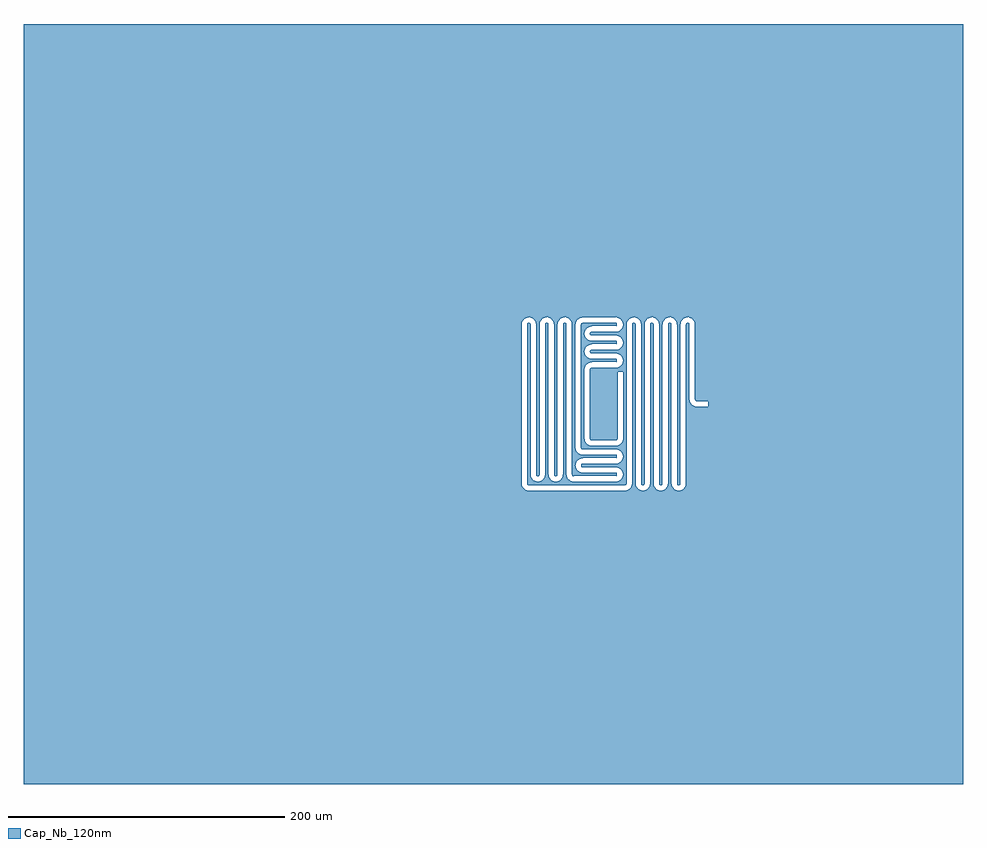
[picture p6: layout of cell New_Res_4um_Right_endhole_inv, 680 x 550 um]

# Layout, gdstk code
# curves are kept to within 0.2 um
import gdstk
lib = gdstk.Library(unit=1e-6, precision=1e-09)
def P(c, l, *ps):  # polygons
    for p in ps: c.add(gdstk.Polygon(p, *l))
Cap_Nb_120nm = (6, 0)

new_res_4um_right_endhol = lib.new_cell('New_Res_4um_Right_endhole_inv')
P(new_res_4um_right_endhol, Cap_Nb_120nm, [(-340,-275),(-340,275),(89.32,275),(89.32,62.602),(64.315,62.655),(62.88,62.37),(61.38,61.57),(60.22,60.34),(59.5,58.8),(59.29,-31.53),(59.56,-33.21),(60.36,-34.71),(61.59,-35.88),(63.41,-36.66),(88.68,-36.77),(89.32,-37.03),(89.32,-38.99),(88.67,-39.251),(64.49,-39.245),(62.34,-39.76),(60.35,-41.4),(59.66,-42.67),(59.35,-44.08),(59.89,-46.88),(61.59,-48.82),(62.87,-49.48),(64.49,-49.77),(88.68,-49.77),(89.32,-50.03),(89.32,-51.99),(88.67,-52.251),(58.05,-52.245),(57.38,-52.05),(56.87,-51.4),(56.79,57.77),(56.3,59.72),(55.11,61.34),(53.66,62.29),(51.7,62.73),(49.71,62.4),(48,61.35),(46.8,59.72),(46.31,57.77),(46.3,-50.99),(46.03,-51.77),(45.33,-52.21),(44.27,-51.97),(43.8,-50.99),(43.77,58.06),(43.17,59.98),(42.11,61.34),(40.66,62.29),(38.7,62.73),(36.71,62.4),(35.21,61.54),(33.93,59.98),(33.37,58.35),(33.3,-50.99),(33.03,-51.77),(32.33,-52.21),(31.51,-52.12),(30.99,-51.66),(30.77,58.06),(30.17,59.98),(29.11,61.34),(27.39,62.4),(25.41,62.73),(23.44,62.29),(21.79,61.14),(20.69,59.46),(20.3,57.5),(20.3,-57.65),(21.05,-60.22),(22.84,-62.01),(25.26,-62.75),(89.32,-62.75),(89.32,-275)],
  [(89.32,-275),(89.32,-62.75),(95.25,-62.75),(97.25,-62.26),(99.4,-60.44),(100.27,-58.06),(100.33,57.76),(100.88,58.54),(101.69,58.72),(102.44,58.37),(102.8,57.48),(103,-58.92),(103.91,-60.72),(105.18,-61.89),(106.76,-62.58),(108.48,-62.72),(110.16,-62.3),(111.61,-61.36),(112.67,-59.99),(113.27,-58.07),(113.3,57.48),(113.67,58.37),(114.55,58.73),(115.44,58.37),(115.8,57.48),(115.83,-58.07),(116.43,-59.99),(117.49,-61.35),(118.94,-62.3),(120.9,-62.74),(122.89,-62.41),(124.39,-61.55),(125.67,-59.99),(126.23,-58.36),(126.3,57.48),(126.77,58.46),(127.69,58.72),(128.44,58.37),(128.8,57.48),(128.81,-57.78),(129.3,-59.73),(130.49,-61.35),(132.21,-62.41),(134.19,-62.74),(135.89,-62.41),(137.61,-61.36),(138.8,-59.73),(139.29,-57.78),(139.3,57.48),(139.77,58.46),(140.83,58.7),(141.53,58.26),(141.8,57.48),(141.92,2.35),(143.21,-0.18),(145.6,-1.73),(147.1,-2),(155.5,-2),(155.5,-275)],
  [(155.5,-275),(155.5,2),(147.15,2.01),(146.35,2.34),(145.83,3.21),(145.8,57.5),(145.52,59.19),(144.51,60.93),(143.18,62.03),(141.56,62.63),(139.83,62.68),(138.18,62.17),(136.79,61.14),(135.8,59.72),(135.33,58.06),(135.3,-57.49),(134.94,-58.38),(134.05,-58.74),(133.17,-58.38),(132.8,-57.49),(132.67,58.63),(131.87,60.47),(130.66,61.71),(129.12,62.49),(127.41,62.73),(125.71,62.4),(124,61.35),(122.93,59.98),(122.33,58.06),(122.3,-57.49),(121.94,-58.38),(121.05,-58.74),(120.17,-58.38),(119.8,-57.49),(119.77,58.06),(119.17,59.98),(118.11,61.34),(116.66,62.29),(114.99,62.71),(113.26,62.57),(111.68,61.88),(110.41,60.71),(109.5,58.91),(109.3,-57.49),(108.94,-58.38),(108.05,-58.74),(107.17,-58.38),(106.8,-57.49),(106.77,58.06),(106.3,59.72),(105.31,61.14),(103.92,62.17),(102.27,62.68),(100.83,62.68),(99.18,62.17),(97.79,61.14),(96.8,59.72),(96.3,57.5),(96.3,-57.49),(96.03,-58.27),(95.33,-58.71),(89.32,-58.75),(89.32,-56.201),(91.04,-55.63),(92.4,-54.57),(93.35,-53.12),(93.79,-51.16),(93.46,-49.17),(92.6,-47.67),(91.04,-46.39),(89.32,-45.818),(89.32,-43.201),(91.04,-42.63),(92.4,-41.57),(93.35,-40.12),(93.79,-38.16),(93.46,-36.17),(92.6,-34.67),(91.04,-33.39),(89.32,-32.818),(89.32,-30.2),(91,-29.65),(92.54,-28.41),(93.42,-26.96),(93.8,-25.11),(93.8,23.44),(89.8,23.44),(89.8,-25.01),(89.32,-25.99),(89.32,26.219),(91.04,26.79),(92.4,27.85),(93.35,29.3),(93.79,31.26),(93.46,33.25),(92.6,34.75),(91.04,36.03),(89.32,36.602),(89.32,39.219),(91.04,39.79),(92.4,40.85),(93.35,42.3),(93.79,44.26),(93.46,46.25),(92.6,47.75),(91.04,49.03),(89.32,49.602),(89.32,52.219),(91.04,52.79),(92.4,53.85),(93.35,55.3),(93.79,57.26),(93.46,59.25),(92.6,60.75),(91.04,62.03),(89.32,62.602),(89.32,275),(340,275),(340,-275)],
  [(25.41,-58.75),(24.57,-58.29),(24.3,-57.51),(24.33,57.76),(24.88,58.54),(25.69,58.72),(26.44,58.37),(26.8,57.48),(26.87,-51.85),(27.43,-53.49),(28.71,-55.04),(30.21,-55.91),(32.19,-56.24),(33.89,-55.91),(35.61,-54.86),(36.67,-53.49),(37.27,-51.57),(37.3,57.48),(37.77,58.46),(38.83,58.7),(39.53,58.26),(39.8,57.48),(39.8,-51.1),(40.3,-53.23),(41.49,-54.85),(43.21,-55.91),(45.19,-56.24),(46.89,-55.91),(48.61,-54.86),(49.8,-53.23),(50.29,-51.28),(50.3,57.48),(50.77,58.46),(51.83,58.7),(52.53,58.26),(52.8,57.48),(52.8,-51.1),(53.07,-52.67),(54.65,-54.99),(57.2,-56.17),(89.32,-56.201),(89.32,-58.75)],
  [(71.08,-26.24),(70.2,-25.88),(69.8,-24.99),(69.86,25.33),(70.85,26.153),(89.32,26.219),(89.32,-25.99),(88.75,-26.24)],
  [(89.32,-32.818),(64.49,-32.776),(63.76,-32.51),(63.32,-31.81),(63.3,57.39),(63.58,58.17),(64.28,58.61),(88.61,58.655),(89.32,58.39),(89.32,56.43),(88.54,56.13),(71.04,56.17),(69.34,55.89),(68.05,55.24),(66.81,54.03),(66.12,52.76),(65.79,51.07),(66.03,49.36),(66.81,47.81),(68.29,46.45),(69.89,45.8),(88.63,45.654),(89.32,45.39),(89.32,43.43),(88.54,43.13),(71.04,43.17),(69.34,42.89),(68.05,42.24),(66.81,41.03),(66.12,39.76),(65.79,38.07),(66.03,36.36),(66.81,34.81),(68.29,33.45),(69.89,32.8),(88.63,32.654),(89.32,32.39),(89.32,30.43),(88.54,30.13),(71.04,30.17),(69.36,29.9),(68.09,29.27),(66.86,28.1),(66.16,26.87),(65.79,24.92),(65.8,-25.23),(66.2,-26.93),(67.9,-29.17),(70.51,-30.21),(89.32,-30.2)],
  [(89.32,49.602),(71.04,49.63),(70.06,50.14),(69.79,50.92),(70.06,51.7),(70.85,52.153),(89.32,52.219)],
  [(89.32,36.602),(71.04,36.63),(70.06,37.14),(69.79,37.92),(70.06,38.7),(70.81,39.147),(89.32,39.219)],
  [(89.32,-45.818),(64.58,-45.77),(63.7,-45.4),(63.33,-44.51),(63.6,-43.73),(64.58,-43.245),(89.32,-43.201)])

lib.write_gds('New_Res_4um_Right_endhole_inv.gds')
